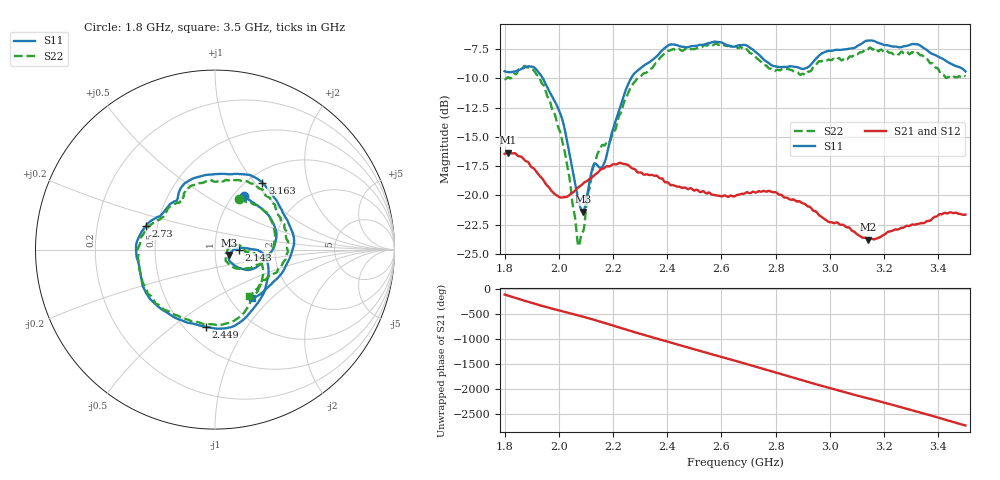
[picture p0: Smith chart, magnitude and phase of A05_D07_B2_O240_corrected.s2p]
! Created with skrf 1.9.0 (http://scikit-rf.org).
# Hz S RI R 50.0
!freq ReS11 ImS11 ReS21 ImS21 ReS12 ImS12 ReS22 ImS22
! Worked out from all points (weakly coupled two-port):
!   1601 points, 1.8 GHz to 3.5 GHz, reference 50 ohm
!   highest |S21| = -16.35 dB at 1.814 GHz (marker M1); lowest = -23.8 dB at 3.142 GHz (marker M2)
!   lowest |S11| = -21.4 dB at 2.089 GHz (marker M3), VSWR 1.19, Z = 58.6 - j3.55 ohm
!   |S11| at or under -10 dB: 1.941 GHz to 2.266 GHz (324.7 MHz wide, 15.4 % of centre)
!   |S22| runs from -24.3 to -7.0 dB; largest |S21 - S12| = 0.0029
!   S11 on the Smith chart (normalised r, x): 1.8 GHz: 1.12, +0.76; 2.143 GHz: 1.31, -0.00; 2.449 GHz: 0.63, -0.67; 2.73 GHz: 0.43, +0.14; 3.163 GHz: 1.16, +1.10; 3.5 GHz: 1.26, -0.77
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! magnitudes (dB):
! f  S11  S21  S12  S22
! 1.8 GHz  -9.4  -16.4  -16.5  -10.0
! 1.814 GHz  -9.5  -16.3  -16.4  -9.9
! 1.88 GHz  -9.0  -17.1  -17.1  -9.0
! 1.943 GHz  -10.1  -18.7  -18.7  -10.6
! 2.013 GHz  -13.5  -20.2  -20.2  -15.3
! 2.069 GHz  -20.0  -19.4  -19.4  -23.9
! 2.084 GHz  -21.3  -19.1  -19.1  -23.3
! 2.089 GHz  -21.4  -19.0  -19.0  -23.1
! 2.125 GHz  -17.6  -18.4  -18.4  -17.7
! 2.143 GHz  -17.5  -18.0  -18.0  -16.4
! 2.168 GHz  -17.2  -17.7  -17.7  -15.7
! 2.265 GHz  -10.0  -17.6  -17.6  -10.8
! 2.367 GHz  -8.0  -18.4  -18.4  -8.4
! 2.449 GHz  -7.3  -19.3  -19.3  -7.6
! 2.65 GHz  -7.3  -20.0  -20.0  -7.3
! 2.73 GHz  -7.8  -19.7  -19.8  -8.2
! 2.934 GHz  -8.7  -21.2  -21.2  -9.2
! 3.142 GHz  -6.8  -23.8  -23.7  -7.5
! 3.163 GHz  -6.8  -23.8  -23.7  -7.5
! 3.217 GHz  -7.2  -23.1  -23.1  -7.8
! 3.325 GHz  -7.1  -22.4  -22.4  -7.8
! 3.5 GHz  -9.4  -21.6  -21.6  -9.8
